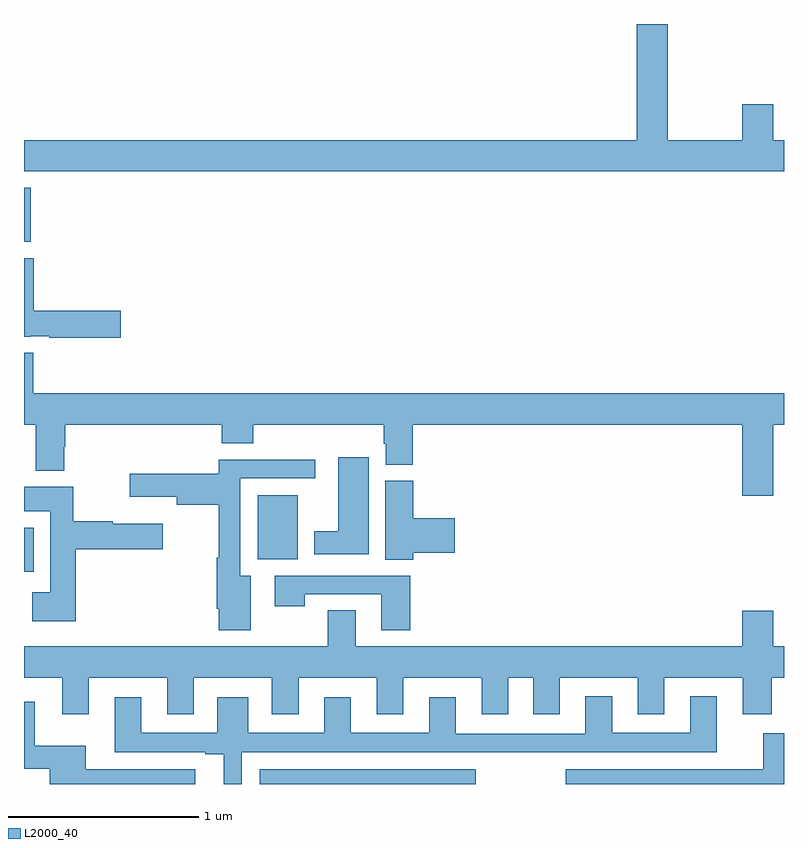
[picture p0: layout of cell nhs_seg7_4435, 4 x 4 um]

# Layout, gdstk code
import gdstk
lib = gdstk.Library(unit=1e-6, precision=1e-09)
def R(c, l, rs):  # rectangles x0, y0, x1, y1
    for r in rs: c.add(gdstk.rectangle(r[:2], r[2:], *l))
def P(c, l, *ps):  # polygons
    for p in ps: c.add(gdstk.Polygon(p, *l))
L2000_40 = (2000, 40)

nhs_seg7_4435 = lib.new_cell('nhs_seg7_4435')
R(nhs_seg7_4435, L2000_40, [(390.242,1056,391.378,1056.078), (389,1057.118,389.05,1057.348), (390.23,1057.184,390.442,1057.519), (389,1058.853,389.036,1059.139)])
P(nhs_seg7_4435, L2000_40, [(393,1059.388),(392.944,1059.388),(392.944,1059.577),(392.78,1059.577),(392.78,1059.388),(392.389,1059.388),(392.389,1060),(392.225,1060),(392.225,1059.388),(389,1059.388),(389,1059.224),(393,1059.224)],
  [(389.509,1058.492),(389.051,1058.492),(389.051,1058.768),(389,1058.768),(389,1058.354),(389.034,1058.354),(389.034,1058.357),(389.134,1058.357),(389.134,1058.35),(389.509,1058.35)],
  [(392.944,1057.892),(393,1057.892),(393,1058.056),(389.048,1058.056),(389.048,1058.269),(389,1058.269),(389,1057.892),(389.063,1057.892),(389.063,1057.649),(389.211,1057.649),(389.211,1057.776),(389.216,1057.776),(389.216,1057.892),(390.041,1057.892),(390.041,1057.793),(390.206,1057.793),(390.206,1057.892),(390.893,1057.892),(390.893,1057.791),(390.905,1057.791),(390.905,1057.681),(391.046,1057.681),(391.046,1057.892),(392.78,1057.892),(392.78,1057.518),(392.944,1057.518)],
  [(390.814,1057.72),(390.653,1057.72),(390.653,1057.33),(390.527,1057.33),(390.527,1057.208),(390.814,1057.208)],
  [(390.193,1057.096),(390.139,1057.096),(390.139,1057.608),(390.532,1057.608),(390.532,1057.706),(390.026,1057.706),(390.026,1057.633),(389.556,1057.633),(389.556,1057.511),(389.804,1057.511),(389.804,1057.469),(390.026,1057.469),(390.026,1057.192),(390.014,1057.192),(390.014,1056.922),(390.026,1056.922),(390.026,1056.81),(390.193,1056.81)],
  [(391.049,1057.217),(391.267,1057.217),(391.267,1057.4),(391.049,1057.4),(391.049,1057.596),(390.902,1057.596),(390.902,1057.18),(391.049,1057.18)],
  [(389.273,1057.235),(389.731,1057.235),(389.731,1057.369),(389.468,1057.369),(389.468,1057.382),(389.26,1057.382),(389.26,1057.564),(389,1057.564),(389,1057.436),(389.138,1057.436),(389.138,1057.009),(389.043,1057.009),(389.043,1056.857),(389.273,1056.857)],
  [(391.034,1057.095),(390.321,1057.095),(390.321,1056.936),(390.477,1056.936),(390.477,1056.999),(390.881,1056.999),(390.881,1056.81),(391.034,1056.81)],
  [(392.78,1056.724),(390.745,1056.724),(390.745,1056.914),(390.598,1056.914),(390.598,1056.724),(389,1056.724),(389,1056.56),(389.201,1056.56),(389.201,1056.366),(389.341,1056.366),(389.341,1056.56),(389.753,1056.56),(389.753,1056.366),(389.893,1056.366),(389.893,1056.56),(390.305,1056.56),(390.305,1056.366),(390.445,1056.366),(390.445,1056.56),(390.857,1056.56),(390.857,1056.366),(390.997,1056.366),(390.997,1056.56),(391.409,1056.56),(391.409,1056.366),(391.549,1056.366),(391.549,1056.56),(391.679,1056.56),(391.679,1056.366),(391.819,1056.366),(391.819,1056.56),(392.231,1056.56),(392.231,1056.366),(392.371,1056.366),(392.371,1056.56),(392.783,1056.56),(392.783,1056.366),(392.936,1056.366),(392.936,1056.56),(393,1056.56),(393,1056.724),(392.944,1056.724),(392.944,1056.913),(392.78,1056.913)],
  [(390.147,1056.168),(392.647,1056.168),(392.647,1056.463),(392.507,1056.463),(392.507,1056.269),(392.095,1056.269),(392.095,1056.463),(391.955,1056.463),(391.955,1056.264),(391.273,1056.264),(391.273,1056.457),(391.133,1056.457),(391.133,1056.269),(390.721,1056.269),(390.721,1056.457),(390.581,1056.457),(390.581,1056.269),(390.181,1056.269),(390.181,1056.457),(390.017,1056.457),(390.017,1056.269),(389.617,1056.269),(389.617,1056.457),(389.477,1056.457),(389.477,1056.168),(389.954,1056.168),(389.954,1056.156),(390.05,1056.156),(390.05,1056),(390.147,1056)],
  [(389.902,1056.078),(389.326,1056.078),(389.326,1056.202),(389.056,1056.202),(389.056,1056.433),(389,1056.433),(389,1056.08),(389.135,1056.08),(389.135,1056),(389.902,1056)],
  [(393,1056.268),(392.891,1056.268),(392.891,1056.078),(391.851,1056.078),(391.851,1056),(393,1056)])

lib.write_gds('nhs_seg7_4435.gds')
